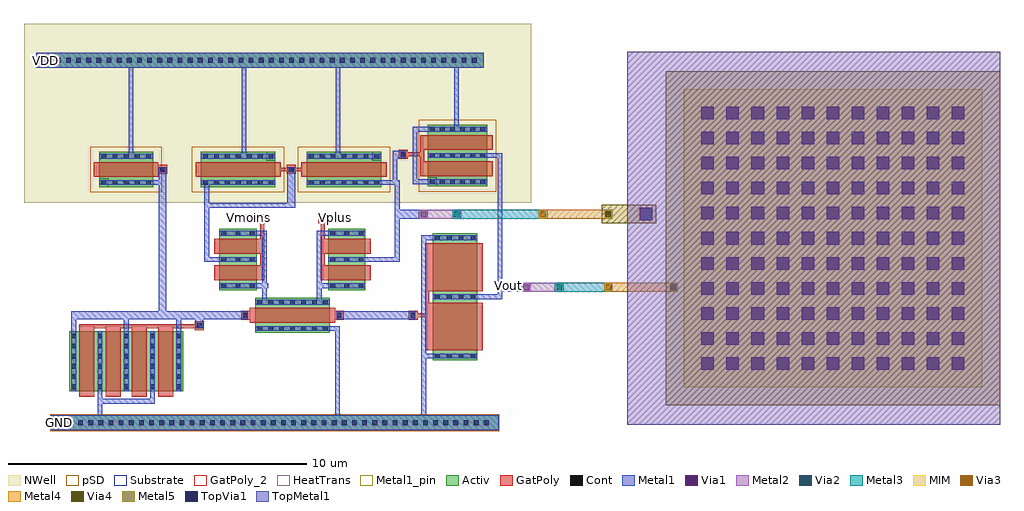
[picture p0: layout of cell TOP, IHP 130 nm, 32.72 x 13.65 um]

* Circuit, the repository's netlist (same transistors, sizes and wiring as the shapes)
* Extracted by KLayout with SG13G2 LVS runset on : 08/06/2026 12:52

.SUBCKT TOP GND Vout Vmoins Vplus VDD
M$1 GND \$2 Vout GND sg13_lv_nmos L=1.6u W=3u AS=0.795p AD=0.795p PS=5.56u
+ PD=5.56u rfmode=0
M$3 \$2 \$2 GND GND sg13_lv_nmos L=0.5u W=8u AS=1.82p AD=1.82p PS=11.82u
+ PD=11.82u rfmode=0
M$7 GND \$2 \$5 GND sg13_lv_nmos L=0.5u W=2.5u AS=0.85p AD=0.85p PS=5.68u
+ PD=5.68u rfmode=0
M$8 \$5 Vmoins \$11 GND sg13_lv_nmos L=0.5u W=2.5u AS=0.6625p AD=0.6625p
+ PS=4.81u PD=4.81u rfmode=0
M$10 \$5 Vplus \$3 GND sg13_lv_nmos L=0.5u W=2.5u AS=0.6625p AD=0.6625p
+ PS=4.81u PD=4.81u rfmode=0
M$12 \$2 \$2 VDD VDD sg13_lv_pmos L=0.5u W=1.8u AS=0.612p AD=0.612p PS=4.28u
+ PD=4.28u rfmode=0
M$13 \$11 \$11 VDD VDD sg13_lv_pmos L=0.5u W=2.5u AS=0.85p AD=0.85p PS=5.68u
+ PD=5.68u rfmode=0
M$14 \$3 \$11 VDD VDD sg13_lv_pmos L=0.5u W=2.5u AS=0.85p AD=0.85p PS=5.68u
+ PD=5.68u rfmode=0
M$15 VDD \$3 Vout VDD sg13_lv_pmos L=0.5u W=4u AS=1.06p AD=1.06p PS=7.06u
+ PD=7.06u rfmode=0
C$17 \$3 Vout cap_cmim w=10u l=10u A=100p P=40u m=1
.ENDS TOP

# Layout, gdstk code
from math import pi, radians
import gdstk
lib = gdstk.Library(unit=1e-6, precision=1e-09)
def R(c, l, rs):  # rectangles x0, y0, x1, y1
    for r in rs: c.add(gdstk.rectangle(r[:2], r[2:], *l))
def A(c, l, x, y, w, h, nx, ny, dx, dy):  # array of equal rectangles
    R(c, l, [(x+i*dx, y+j*dy, x+i*dx+w, y+j*dy+h) for i in range(nx) for j in range(ny)])
Activ = (1, 0)
GatPoly = (5, 0)
GatPoly_2 = (5, 2)
Cont = (6, 0)
Metal1 = (8, 0)
Metal1_pin = (8, 2)
Metal2 = (10, 0)
pSD = (14, 0)
Via1 = (19, 0)
Via2 = (29, 0)
Metal3 = (30, 0)
NWell = (31, 0)
MIM = (36, 0)
Substrate = (40, 0)
Via3 = (49, 0)
Metal4 = (50, 0)
HeatTrans = (51, 0)
Via4 = (66, 0)
Metal5 = (67, 0)
TopVia1 = (125, 0)
TopMetal1 = (126, 0)

pmos_1 = lib.new_cell('pmos$1')
R(pmos_1, Activ, [(0,0,0.3,0.3), (0,0,1.18,2.5), (0.88,0,1.18,0.3)])
R(pmos_1, GatPoly, [(0.34,-0.18,0.84,2.68), (0.34,-0.18,0.84,2.68)])
A(pmos_1, Cont, 0.07, 0.07, 0.16, 0.16, 1, 3, 0, 0.365)
A(pmos_1, Cont, 0.95, 0.07, 0.16, 0.16, 1, 3, 0, 0.365)
A(pmos_1, Cont, 0.07, 1.17, 0.16, 0.16, 1, 3, 0, 0.365)
A(pmos_1, Cont, 0.95, 1.17, 0.16, 0.16, 1, 3, 0, 0.365)
R(pmos_1, Cont, [(0.07,2.27,0.23,2.43), (0.95,2.27,1.11,2.43)])
R(pmos_1, Metal1, [(0.07,0,0.23,2.5), (0.07,0,0.23,2.5), (0.95,0,1.11,2.5), (0.95,0,1.11,2.5)])
R(pmos_1, pSD, [(-0.18,-0.3,1.36,2.8)])
R(pmos_1, NWell, [(-0.31,-0.31,1.49,2.81)])
R(pmos_1, Substrate, [(0.88,0,1.18,0.3)])
R(pmos_1, HeatTrans, [(0.34,-0.18,0.84,2.68)])
pmos_1.add(gdstk.Label('pmos', (0.59,1.25), layer=63, texttype=0))
pmos_1.add(gdstk.Label('pmos', (0.59,1.25), layer=51, texttype=0))

nmos_2 = lib.new_cell('nmos$2')
A(nmos_2, Activ, 0, 0, 0.3, 0.3, 3, 1, 0.88, 0)
R(nmos_2, Activ, [(0,0,2.06,1.25)])
R(nmos_2, GatPoly, [(0.34,-0.18,0.84,1.43), (1.22,-0.18,1.72,1.43)])
R(nmos_2, GatPoly_2, [(0.34,-0.18,0.84,1.43)])
A(nmos_2, Cont, 0.07, 0.07, 0.16, 0.16, 3, 3, 0.88, 0.475)
A(nmos_2, Metal1, 0.07, 0, 0.16, 1.25, 3, 1, 0.88, 0)
R(nmos_2, Metal1_pin, [(0.07,0,0.23,1.25), (0.95,0,1.11,1.25)])
R(nmos_2, HeatTrans, [(0.34,-0.18,0.84,1.43), (1.22,-0.18,1.72,1.43)])
nmos_2.add(gdstk.Label('nmos', (0.59,0.625), layer=63, texttype=0))
nmos_2.add(gdstk.Label('nmos', (0.59,0.625), layer=51, texttype=0))
nmos_2.add(gdstk.Label('nmos', (1.47,0.625), layer=51, texttype=0))

nmos_1 = lib.new_cell('nmos$1')
R(nmos_1, Activ, [(0,0,0.3,0.3), (0,0,1.18,2.5), (0.88,0,1.18,0.3)])
R(nmos_1, GatPoly, [(0.34,-0.18,0.84,2.68)])
R(nmos_1, GatPoly_2, [(0.34,-0.18,0.84,2.68)])
A(nmos_1, Cont, 0.07, 0.07, 0.16, 0.16, 1, 3, 0, 0.365)
A(nmos_1, Cont, 0.95, 0.07, 0.16, 0.16, 1, 3, 0, 0.365)
A(nmos_1, Cont, 0.07, 1.17, 0.16, 0.16, 1, 3, 0, 0.365)
A(nmos_1, Cont, 0.95, 1.17, 0.16, 0.16, 1, 3, 0, 0.365)
R(nmos_1, Cont, [(0.07,2.27,0.23,2.43), (0.95,2.27,1.11,2.43)])
R(nmos_1, Metal1, [(0.07,0,0.23,2.5), (0.95,0,1.11,2.5)])
R(nmos_1, Metal1_pin, [(0.07,0,0.23,2.5), (0.95,0,1.11,2.5)])
R(nmos_1, HeatTrans, [(0.34,-0.18,0.84,2.68)])
nmos_1.add(gdstk.Label('nmos', (0.59,1.25), layer=63, texttype=0))
nmos_1.add(gdstk.Label('nmos', (0.59,1.25), layer=51, texttype=0))

nmos = lib.new_cell('nmos')
A(nmos, Activ, 0, 0, 0.3, 0.3, 3, 1, 1.98, 0)
R(nmos, Activ, [(0,0,4.26,1.5)])
R(nmos, GatPoly, [(0.34,-0.18,1.94,1.68), (2.32,-0.18,3.92,1.68)])
R(nmos, GatPoly_2, [(0.34,-0.18,1.94,1.68)])
A(nmos, Cont, 0.07, 0.07, 0.16, 0.16, 3, 4, 1.98, 0.4)
A(nmos, Metal1, 0.07, 0, 0.16, 1.5, 3, 1, 1.98, 0)
R(nmos, Metal1_pin, [(0.07,0,0.23,1.5), (2.05,0,2.21,1.5)])
R(nmos, HeatTrans, [(0.34,-0.18,1.94,1.68), (2.32,-0.18,3.92,1.68)])
nmos.add(gdstk.Label('nmos', (1.14,0.75), layer=63, texttype=0))
nmos.add(gdstk.Label('nmos', (1.14,0.75), layer=51, texttype=0))
nmos.add(gdstk.Label('nmos', (3.12,0.75), layer=51, texttype=0))

pmos_2 = lib.new_cell('pmos$2')
A(pmos_2, Activ, 0, 0, 0.3, 0.3, 3, 1, 0.88, 0)
R(pmos_2, Activ, [(0,0,2.06,2)])
R(pmos_2, GatPoly, [(0.34,-0.18,0.84,2.18), (0.34,-0.18,0.84,2.18), (1.22,-0.18,1.72,2.18)])
A(pmos_2, Cont, 0.07, 0.07, 0.16, 0.16, 3, 6, 0.88, 0.34)
R(pmos_2, Metal1, [(0.07,0,0.23,2), (0.07,0,0.23,2), (0.95,0,1.11,2), (0.95,0,1.11,2), (1.83,0,1.99,2)])
R(pmos_2, pSD, [(-0.18,-0.3,2.24,2.3)])
R(pmos_2, NWell, [(-0.31,-0.31,2.37,2.31)])
R(pmos_2, Substrate, [(1.76,0,2.06,0.3)])
R(pmos_2, HeatTrans, [(0.34,-0.18,0.84,2.18), (1.22,-0.18,1.72,2.18)])
pmos_2.add(gdstk.Label('pmos', (0.59,1), layer=63, texttype=0))
pmos_2.add(gdstk.Label('pmos', (0.59,1), layer=51, texttype=0))
pmos_2.add(gdstk.Label('pmos', (1.47,1), layer=51, texttype=0))

pmos_3 = lib.new_cell('pmos$3')
R(pmos_3, Activ, [(0,0,0.3,0.3), (0,0,1.18,1.8), (0.88,0,1.18,0.3)])
R(pmos_3, GatPoly, [(0.34,-0.18,0.84,1.98), (0.34,-0.18,0.84,1.98)])
A(pmos_3, Cont, 0.07, 0.07, 0.16, 0.16, 1, 5, 0, 0.375)
A(pmos_3, Cont, 0.95, 0.07, 0.16, 0.16, 1, 5, 0, 0.375)
R(pmos_3, Metal1, [(0.07,0,0.23,1.8), (0.07,0,0.23,1.8), (0.95,0,1.11,1.8), (0.95,0,1.11,1.8)])
R(pmos_3, pSD, [(-0.18,-0.3,1.36,2.1)])
R(pmos_3, NWell, [(-0.31,-0.31,1.49,2.11)])
R(pmos_3, Substrate, [(0.88,0,1.18,0.3)])
R(pmos_3, HeatTrans, [(0.34,-0.18,0.84,1.98)])
pmos_3.add(gdstk.Label('pmos', (0.59,0.9), layer=63, texttype=0))
pmos_3.add(gdstk.Label('pmos', (0.59,0.9), layer=51, texttype=0))

nmos_3 = lib.new_cell('nmos$3')
A(nmos_3, Activ, 0, 0, 0.3, 0.3, 5, 1, 0.88, 0)
R(nmos_3, Activ, [(0,0,3.82,2)])
A(nmos_3, GatPoly, 0.34, -0.18, 0.5, 2.36, 4, 1, 0.88, 0)
R(nmos_3, GatPoly_2, [(0.34,-0.18,0.84,2.18)])
A(nmos_3, Cont, 0.07, 0.07, 0.16, 0.16, 5, 6, 0.88, 0.34)
A(nmos_3, Metal1, 0.07, 0, 0.16, 2, 5, 1, 0.88, 0)
R(nmos_3, Metal1_pin, [(0.07,0,0.23,2), (0.95,0,1.11,2)])
A(nmos_3, HeatTrans, 0.34, -0.18, 0.5, 2.36, 4, 1, 0.88, 0)
nmos_3.add(gdstk.Label('nmos', (0.59,1), layer=63, texttype=0))
nmos_3.add(gdstk.Label('nmos', (0.59,1), layer=51, texttype=0))
nmos_3.add(gdstk.Label('nmos', (1.47,1), layer=51, texttype=0))
nmos_3.add(gdstk.Label('nmos', (2.35,1), layer=51, texttype=0))
nmos_3.add(gdstk.Label('nmos', (3.23,1), layer=51, texttype=0))

top = lib.new_cell('TOP')
R(top, Activ, [(-7.89,-3.195,7.11,-2.695), (-8.39,8.96,6.61,9.46)])
R(top, GatPoly, [(-3.07,0.155,-2.77,0.455), (-1.52,0.505,-1.22,0.805), (1.625,0.505,1.925,0.805), (4.095,0.505,4.395,0.805), (-0.965,3.74,-0.665,4.04), (1.07,3.74,1.37,4.04), (-4.3,5.395,-4,5.695), (0.01,5.395,0.31,5.695), (3.765,5.9,4.065,6.2)])
A(top, Cont, -7.32, -3.025, 0.16, 0.16, 42, 1, 0.34, 0)
A(top, Cont, -7.725, 9.13, 0.16, 0.16, 42, 1, 0.34, 0)
R(top, Cont, [(-3,0.225,-2.84,0.385), (-1.45,0.575,-1.29,0.735), (1.68,0.575,1.84,0.735), (4.165,0.575,4.325,0.735), (-0.895,3.81,-0.735,3.97), (1.14,3.81,1.3,3.97), (-4.23,5.465,-4.07,5.625), (0.08,5.465,0.24,5.625), (3.835,5.97,3.995,6.13)])
R(top, Metal1, [(-7.89,-3.195,7.11,-2.695), (-8.39,8.96,6.61,9.46)])
R(top, Metal1_pin, [(-7.76,-3.045,-7.56,-2.845), (7.35,1.5,7.5,1.7), (1.555,3.795,1.705,3.995), (-1.325,3.8,-1.175,4), (-8.165,9.11,-7.965,9.31)])
R(top, pSD, [(-7.92,-3.225,7.14,-2.665)])
R(top, Via1, [(7.94,1.5,8.13,1.69), (4.5,3.95,4.69,4.14)])
R(top, Via2, [(9.06,1.5,9.25,1.69), (5.62,3.95,5.81,4.14)])
R(top, NWell, [(-8.795,4.425,8.205,10.425)])
R(top, MIM, [(13.32,-1.76,23.32,8.24)])
R(top, Via3, [(10.7,1.5,10.89,1.69), (8.51,3.95,8.7,4.14)])
R(top, Via4, [(12.87,1.5,13.06,1.69), (10.68,3.95,10.87,4.14)])
R(top, Metal5, [(12.72,-2.36,23.92,8.84)])
A(top, TopVia1, 13.91, -1.17, 0.42, 0.42, 11, 11, 0.84, 0.84)
R(top, TopVia1, [(11.845,3.835,12.265,4.255)])
R(top, TopMetal1, [(11.42,-3.01,23.92,9.49)])
top.add(gdstk.FlexPath([(-1.06,3.405),(-0.73,3.405),(-0.73,1.015)], 0.16, ends="flush", simple_path=True, layer=8, datatype=0))  # Metal1
top.add(gdstk.FlexPath([(-1.29,0.655),(-7.21,0.655)], 0.26, ends="flush", simple_path=True, layer=8, datatype=0))  # Metal1
top.add(gdstk.FlexPath([(-1.42,5.905),(-1.42,6.485),(-1.42,8.27),(-1.42,9.045)], 0.16, ends="flush", simple_path=True, layer=8, datatype=0))  # Metal1
top.add(gdstk.FlexPath([(-5.21,5.905),(-5.21,6.485),(-5.21,8.27),(-5.21,9.045)], 0.16, ends="flush", simple_path=True, layer=8, datatype=0))  # Metal1
top.add(gdstk.FlexPath([(-7.13,0.055),(-7.13,0.655)], 0.16, ends="flush", simple_path=True, layer=8, datatype=0))  # Metal1
top.add(gdstk.FlexPath([(-5.37,0.055),(-5.37,0.655)], 0.16, ends="flush", simple_path=True, layer=8, datatype=0))  # Metal1
top.add(gdstk.FlexPath([(-3.61,0.055),(-3.61,0.655)], 0.16, ends="flush", simple_path=True, layer=8, datatype=0))  # Metal1
top.add(gdstk.FlexPath([(-2.92,0.225),(-2.92,0.655)], 0.26, ends="flush", simple_path=True, layer=8, datatype=0))  # Metal1
top.add(gdstk.FlexPath([(-4.15,5.625),(-4.15,5.025),(-4.15,4.51),(-4.15,3.89),(-4.15,2.47),(-4.15,0.835),(-4.15,0.655)], 0.26, ends="flush", simple_path=True, layer=8, datatype=0))  # Metal1
top.add(gdstk.FlexPath([(-4.51,5.105),(-4.4,5.105),(-4.15,5.105)], 0.16, ends="flush", simple_path=True, layer=8, datatype=0))  # Metal1
top.add(gdstk.FlexPath([(-6.25,-1.855),(-6.25,-1.965),(-6.25,-2.345),(-6.25,-2.73),(-6.25,-2.73),(-6.25,-2.74)], 0.16, ends="flush", simple_path=True, layer=8, datatype=0))  # Metal1
top.add(gdstk.FlexPath([(-4.49,-1.865),(-4.49,-1.935),(-4.49,-2.225),(-5.29,-2.225),(-6.25,-2.225)], 0.16, ends="flush", simple_path=True, layer=8, datatype=0))  # Metal1
top.add(gdstk.FlexPath([(1.43,0.215),(1.71,0.215),(1.71,-0.495),(1.71,-2.3),(1.71,-2.805)], 0.16, ends="flush", simple_path=True, layer=8, datatype=0))  # Metal1
top.add(gdstk.FlexPath([(4.94,3.255),(4.6,3.255),(4.6,-1.545),(4.6,-2.77)], 0.16, ends="flush", simple_path=True, layer=8, datatype=0))  # Metal1
top.add(gdstk.FlexPath([(1.73,5.905),(1.73,6.485),(1.73,8.27),(1.73,9.045)], 0.16, ends="flush", simple_path=True, layer=8, datatype=0))  # Metal1
top.add(gdstk.FlexPath([(5.705,6.81),(5.705,7.315),(5.705,7.68),(5.705,8.26),(5.705,8.87),(5.705,9.04)], 0.16, ends="flush", simple_path=True, layer=8, datatype=0))  # Metal1
top.add(gdstk.FlexPath([(6.375,1.275),(7.16,1.275),(7.16,5.21),(7.16,5.545),(7.16,5.78),(7.16,6.01),(6.675,6.01)], 0.16, ends="flush", simple_path=True, layer=8, datatype=0))  # Metal1
top.add(gdstk.FlexPath([(4.735,4.045),(3.64,4.045)], 0.29, ends="flush", simple_path=True, layer=8, datatype=0))  # Metal1
top.add(gdstk.FlexPath([(8.175,1.595),(7.08,1.595)], 0.29, ends="flush", simple_path=True, layer=8, datatype=0))  # Metal1
top.add(gdstk.FlexPath([(4.325,0.655),(3.645,0.655),(2.72,0.655),(1.68,0.655)], 0.26, ends="flush", simple_path=True, layer=8, datatype=0))  # Metal1
top.add(gdstk.FlexPath([(4.925,-0.705),(4.52,-0.705)], 0.16, ends="flush", simple_path=True, layer=8, datatype=0))  # Metal1
top.add(gdstk.FlexPath([(3.64,6.18),(3.64,5.105)], 0.16, ends="flush", simple_path=True, layer=8, datatype=0))  # Metal1
top.add(gdstk.FlexPath([(3.995,6.05),(3.64,6.05),(3.64,6.05)], 0.26, ends="flush", simple_path=True, layer=8, datatype=0))  # Metal1
top.add(gdstk.FlexPath([(3.14,5.105),(3.72,5.105),(3.72,2.525),(2.625,2.525)], 0.16, ends="flush", simple_path=True, layer=8, datatype=0))  # Metal1
top.add(gdstk.FlexPath([(4.835,6.89),(4.31,6.89),(4.31,5.13),(4.835,5.13)], 0.16, ends="flush", simple_path=True, layer=8, datatype=0))  # Metal1
top.add(gdstk.FlexPath([(1.43,3.405),(1.1,3.405),(1.1,1.015)], 0.16, ends="flush", simple_path=True, layer=8, datatype=0))  # Metal1
top.add(gdstk.FlexPath([(1.02,1.645),(1.43,1.645)], 0.16, ends="flush", simple_path=True, layer=8, datatype=0))  # Metal1
top.add(gdstk.FlexPath([(-1.025,1.645),(-0.615,1.645)], 0.16, ends="flush", simple_path=True, layer=8, datatype=0))  # Metal1
top.add(gdstk.FlexPath([(0.16,5.625),(0.16,4.26)], 0.26, ends="flush", simple_path=True, layer=8, datatype=0))  # Metal1
top.add(gdstk.FlexPath([(-2.23,2.525),(-2.665,2.525),(-2.665,5.185)], 0.16, ends="flush", simple_path=True, layer=8, datatype=0))  # Metal1
top.add(gdstk.FlexPath([(0.29,4.34),(-2.745,4.34),(-2.745,4.34)], 0.16, ends="flush", simple_path=True, layer=8, datatype=0))  # Metal1
top.add(gdstk.FlexPath([(-0.735,3.89),(-1.365,3.89),(-1.365,3.89)], 0.26, ends="flush", simple_path=True, layer=8, datatype=0))  # Metal1
top.add(gdstk.FlexPath([(-0.735,3.89),(-1.365,3.89),(-1.365,3.89)], 0.26, ends="flush", simple_path=True, layer=8, datatype=0))  # Metal1
top.add(gdstk.FlexPath([(1.77,3.89),(1.14,3.89),(1.14,3.89)], 0.26, ends="flush", simple_path=True, layer=8, datatype=0))  # Metal1
top.add(gdstk.FlexPath([(-6.94,0.295),(-6.07,0.295),(-4.505,0.295),(-3.065,0.295)], 0.13, ends="flush", simple_path=True, layer=5, datatype=0))  # GatPoly
top.add(gdstk.FlexPath([(4.79,0.655),(4.39,0.655)], 0.13, ends="flush", simple_path=True, layer=5, datatype=0))  # GatPoly
top.add(gdstk.FlexPath([(4.555,6.7),(4.555,5.32)], 0.13, ends="flush", simple_path=True, layer=5, datatype=0))  # GatPoly
top.add(gdstk.FlexPath([(4.725,3.065),(4.725,-0.515)], 0.13, ends="flush", simple_path=True, layer=5, datatype=0))  # GatPoly
top.add(gdstk.FlexPath([(4.62,6.05),(4.055,6.05)], 0.13, ends="flush", simple_path=True, layer=5, datatype=0))  # GatPoly
top.add(gdstk.FlexPath([(-0.815,1.835),(-0.815,3.745)], 0.13, ends="flush", simple_path=True, layer=5, datatype=0))  # GatPoly
top.add(gdstk.FlexPath([(-0.815,1.835),(-0.815,3.745)], 0.13, ends="flush", simple_path=True, layer=5, datatype=0))  # GatPoly
top.add(gdstk.FlexPath([(-0.202,5.545),(0.013,5.545)], 0.13, ends="flush", simple_path=True, layer=5, datatype=0))  # GatPoly
top.add(gdstk.FlexPath([(0.308,5.545),(0.523,5.545)], 0.13, ends="flush", simple_path=True, layer=5, datatype=0))  # GatPoly
top.add(gdstk.FlexPath([(1.22,1.835),(1.22,3.745)], 0.13, ends="flush", simple_path=True, layer=5, datatype=0))  # GatPoly
top.add(gdstk.FlexPath([(10.575,4.045),(11.815,4.045),(12.4,4.045)], 0.62, ends="flush", simple_path=True, layer=67, datatype=0))  # Metal5
top.add(gdstk.FlexPath([(8.465,4.045),(8.89,4.045),(10.325,4.045),(10.92,4.045)], 0.29, ends="flush", simple_path=True, layer=50, datatype=0))  # Metal4
top.add(gdstk.FlexPath([(10.655,1.595),(11.08,1.595),(12.515,1.595),(13.11,1.595)], 0.29, ends="flush", simple_path=True, layer=50, datatype=0))  # Metal4
top.add(gdstk.FlexPath([(5.57,4.045),(7.485,4.045),(8.76,4.045),(8.76,4.045)], 0.29, ends="flush", simple_path=True, layer=30, datatype=0))  # Metal3
top.add(gdstk.FlexPath([(10.925,1.595),(9.835,1.595),(9,1.595)], 0.29, ends="flush", simple_path=True, layer=30, datatype=0))  # Metal3
top.add(gdstk.FlexPath([(5.865,4.045),(5.055,4.045),(4.43,4.045)], 0.29, ends="flush", simple_path=True, layer=10, datatype=0))  # Metal2
top.add(gdstk.FlexPath([(9.305,1.595),(8.495,1.595),(7.87,1.595)], 0.29, ends="flush", simple_path=True, layer=10, datatype=0))  # Metal2
top.add(gdstk.Reference(pmos_1, (-0.365,4.955), rotation=pi/2))
top.add(gdstk.Reference(nmos_2, (-0.995,1.495), rotation=pi/2))
top.add(gdstk.Reference(nmos_2, (-0.995,1.495), rotation=pi/2))
top.add(gdstk.Reference(nmos_1, (1.455,0.065), rotation=pi/2))
top.add(gdstk.Reference(nmos_2, (2.65,1.495), rotation=pi/2))
top.add(gdstk.Reference(pmos_1, (3.18,4.955), rotation=pi/2))
top.add(gdstk.Reference(nmos, (4.905,3.405), rotation=3*pi/2))
top.add(gdstk.Reference(pmos_2, (4.735,7.04), rotation=3*pi/2))
top.add(gdstk.Reference(pmos_3, (-6.27,6.135), rotation=3*pi/2))
top.add(gdstk.Reference(nmos_3, (-3.46,0.115), rotation=pi))
top.add(gdstk.Label('Vmoins', (-1.275,3.95), layer=8, texttype=25))
top.add(gdstk.Label('Vplus', (1.63,3.95), layer=8, texttype=25))
top.add(gdstk.Label('GND', (-7.615,-2.92), layer=8, texttype=25))
top.add(gdstk.Label('VDD', (-8.06,9.195), layer=8, texttype=25))
top.add(gdstk.Label('Vout', (7.435,1.65), layer=8, texttype=25))

lib.write_gds('TOP.gds')
